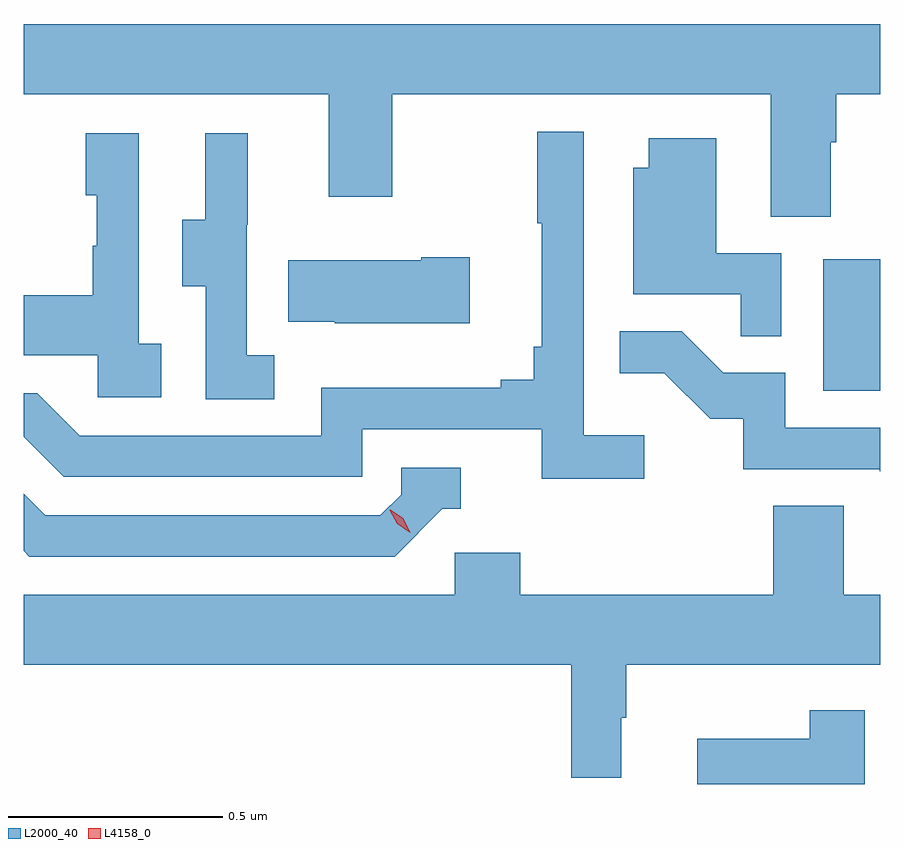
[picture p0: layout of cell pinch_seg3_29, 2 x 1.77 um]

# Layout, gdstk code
import gdstk
lib = gdstk.Library(unit=1e-6, precision=1e-09)
def R(c, l, rs):  # rectangles x0, y0, x1, y1
    for r in rs: c.add(gdstk.rectangle(r[:2], r[2:], *l))
def P(c, l, *ps):  # polygons
    for p in ps: c.add(gdstk.Polygon(p, *l))
L2000_40 = (2000, 40)
L4158_0 = (4158, 0)

pinch_seg3_29 = lib.new_cell('pinch_seg3_29')
R(pinch_seg3_29, L2000_40, [(1086.218,744.18,1086.351,744.487)])
P(pinch_seg3_29, L2000_40, [(1086.235,744.76),(1086.248,744.76),(1086.248,744.872),(1086.351,744.872),(1086.351,745.036),(1084.351,745.036),(1084.351,744.872),(1085.063,744.872),(1085.063,744.633),(1085.211,744.633),(1085.211,744.872),(1086.095,744.872),(1086.095,744.586),(1086.235,744.586)],
  [(1085.8,744.076),(1085.658,744.076),(1085.658,744.784),(1085.55,744.784),(1085.55,744.571),(1085.561,744.571),(1085.561,744.283),(1085.542,744.283),(1085.542,744.206),(1085.465,744.206),(1085.465,744.187),(1085.046,744.187),(1085.046,744.075),(1084.482,744.075),(1084.383,744.174),(1084.351,744.174),(1084.351,744.073),(1084.445,743.979),(1085.142,743.979),(1085.142,744.09),(1085.561,744.09),(1085.561,743.974),(1085.8,743.974)],
  [(1084.936,744.263),(1084.872,744.263),(1084.872,744.567),(1084.874,744.567),(1084.874,744.781),(1084.775,744.781),(1084.775,744.579),(1084.721,744.579),(1084.721,744.424),(1084.776,744.424),(1084.776,744.16),(1084.936,744.16)],
  [(1084.672,744.29),(1084.62,744.29),(1084.62,744.781),(1084.496,744.781),(1084.496,744.636),(1084.522,744.636),(1084.522,744.518),(1084.512,744.518),(1084.512,744.403),(1084.351,744.403),(1084.351,744.263),(1084.524,744.263),(1084.524,744.165),(1084.672,744.165)],
  [(1086.12,744.501),(1085.968,744.501),(1085.968,744.769),(1085.81,744.769),(1085.81,744.7),(1085.774,744.7),(1085.774,744.405),(1086.025,744.405),(1086.025,744.307),(1086.12,744.307)],
  [(1085.392,744.492),(1085.279,744.492),(1085.279,744.484),(1084.969,744.484),(1084.969,744.341),(1085.077,744.341),(1085.077,744.338),(1085.392,744.338)],
  [(1086.351,744.093),(1086.129,744.093),(1086.129,744.222),(1085.984,744.222),(1085.887,744.319),(1085.743,744.319),(1085.743,744.221),(1085.847,744.221),(1085.954,744.114),(1086.031,744.114),(1086.031,743.997),(1086.349,743.997),(1086.349,743.992),(1086.351,743.992)],
  [(1085.328,743.904),(1085.371,743.904),(1085.371,744),(1085.232,744),(1085.232,743.937),(1085.184,743.889),(1084.401,743.889),(1084.351,743.939),(1084.351,743.806),(1084.364,743.793),(1085.217,743.793)],
  [(1085.746,743.417),(1085.758,743.417),(1085.758,743.54),(1086.351,743.54),(1086.351,743.704),(1086.266,743.704),(1086.266,743.912),(1086.101,743.912),(1086.101,743.704),(1085.51,743.704),(1085.51,743.802),(1085.358,743.802),(1085.358,743.704),(1084.351,743.704),(1084.351,743.54),(1085.629,743.54),(1085.629,743.277),(1085.746,743.277)],
  [(1086.314,743.434),(1086.186,743.434),(1086.186,743.368),(1085.924,743.368),(1085.924,743.262),(1086.314,743.262)])
P(pinch_seg3_29, L4158_0, [(1085.254,743.849),(1085.223,743.869),(1085.206,743.901),(1085.206,743.902),(1085.207,743.902),(1085.237,743.882),(1085.254,743.85),(1085.254,743.849)])

lib.write_gds('pinch_seg3_29.gds')
